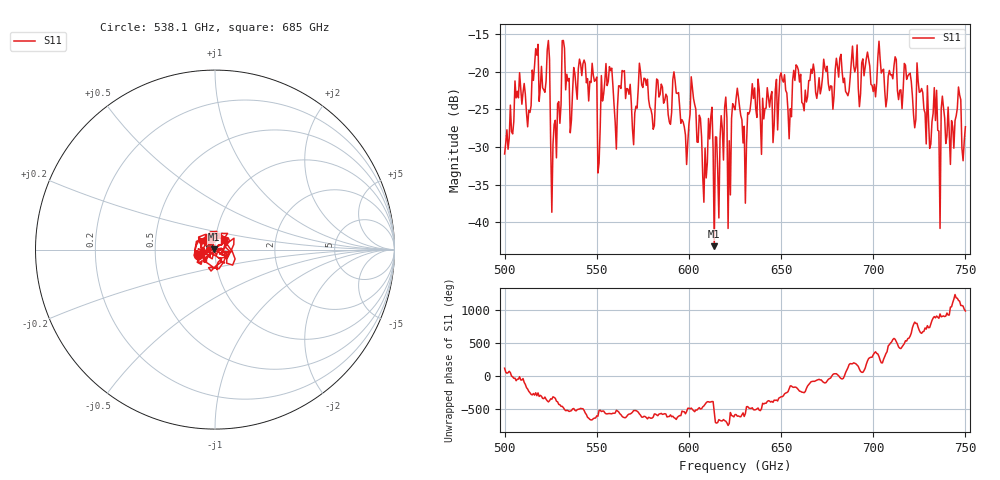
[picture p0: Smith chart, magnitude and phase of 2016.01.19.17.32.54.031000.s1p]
!Created with skrf (http://scikit-rf.org).
# GHz S RI R 50.0
!freq ReS11 ImS11
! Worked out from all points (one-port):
!   401 points, 500 GHz to 750 GHz, reference 50 ohm
!   lowest |S11| = -43.2 dB at 613.8 GHz (marker M1), VSWR 1.01, Z = 49.3 + j0.0727 ohm
!   |S11| at or under -10 dB: start of sweep to end of sweep
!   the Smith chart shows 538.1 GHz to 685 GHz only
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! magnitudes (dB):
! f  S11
! 500 GHz  -30.9
! 506.9 GHz  -22.6
! 513.1 GHz  -25.1
! 516.9 GHz  -16.9
! 523.1 GHz  -17.1
! 526.9 GHz  -27.0
! 531.2 GHz  -15.8
! 548.8 GHz  -21.3
! 551.9 GHz  -27.4
! 555.6 GHz  -21.8
! 562.5 GHz  -21.9
! 593.8 GHz  -22.9
! 598.8 GHz  -32.3
! 602.5 GHz  -23.6
! 608.8 GHz  -30.2
! 613.8 GHz  -43.2
! 615 GHz  -28.7
! 618.8 GHz  -31.7
! 622.5 GHz  -36.4
! 625 GHz  -25.1
! 630 GHz  -27.2
! 634.4 GHz  -21.6
! 656.2 GHz  -21.1
! 687.5 GHz  -20.7
! 718.8 GHz  -20.5
! 735 GHz  -27.8
! 746.2 GHz  -22.0
! 750 GHz  -27.3
